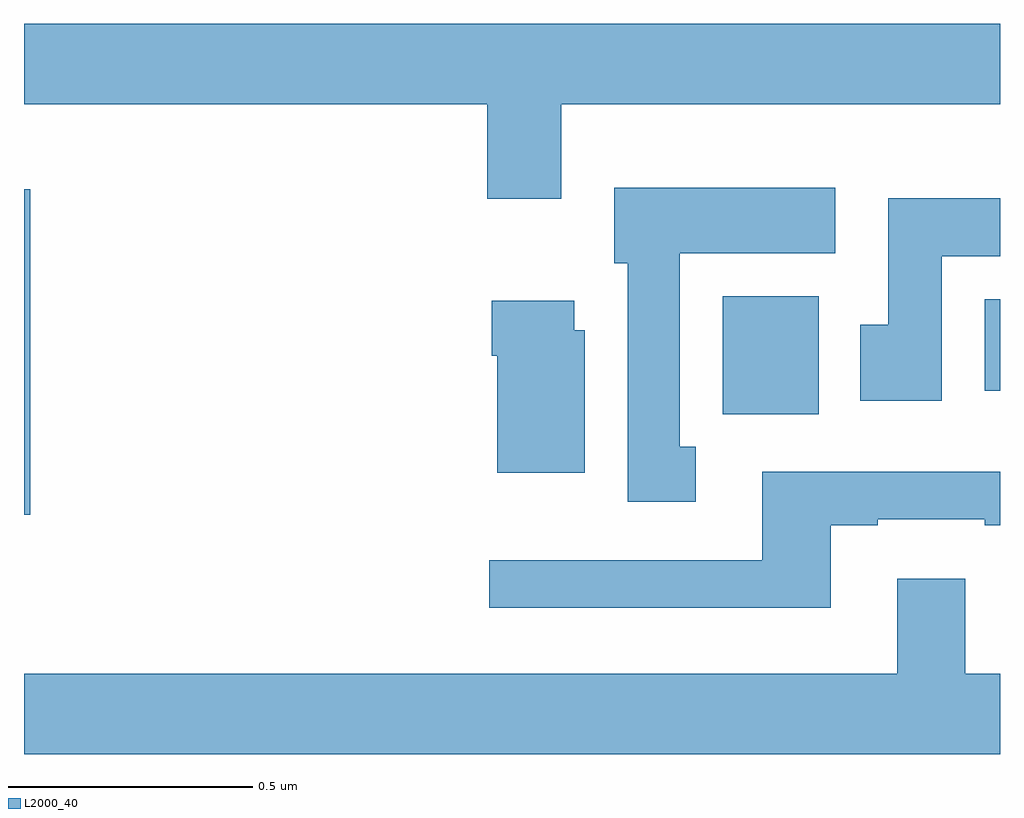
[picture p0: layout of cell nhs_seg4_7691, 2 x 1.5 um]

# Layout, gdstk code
import gdstk
lib = gdstk.Library(unit=1e-6, precision=1e-09)
def R(c, l, rs):  # rectangles x0, y0, x1, y1
    for r in rs: c.add(gdstk.rectangle(r[:2], r[2:], *l))
def P(c, l, *ps):  # polygons
    for p in ps: c.add(gdstk.Polygon(p, *l))
L2000_40 = (2000, 40)

nhs_seg4_7691 = lib.new_cell('nhs_seg4_7691')
R(nhs_seg4_7691, L2000_40, [(205,826.614,205.013,827.281), (206.432,826.82,206.629,827.062), (206.969,826.868,207,827.056)])
P(nhs_seg4_7691, L2000_40, [(206.101,827.456),(207,827.456),(207,827.62),(205,827.62),(205,827.456),(205.949,827.456),(205.949,827.262),(206.101,827.262)],
  [(206.377,826.754),(206.344,826.754),(206.344,827.15),(206.662,827.15),(206.662,827.284),(206.21,827.284),(206.21,827.13),(206.237,827.13),(206.237,826.641),(206.377,826.641)],
  [(206.881,827.144),(207,827.144),(207,827.263),(206.771,827.263),(206.771,827.004),(206.714,827.004),(206.714,826.848),(206.881,826.848)],
  [(206.149,826.992),(206.128,826.992),(206.128,827.053),(205.958,827.053),(205.958,826.94),(205.97,826.94),(205.97,826.7),(206.149,826.7)],
  [(206.653,826.593),(206.749,826.593),(206.749,826.605),(206.969,826.605),(206.969,826.593),(207,826.593),(207,826.702),(206.513,826.702),(206.513,826.521),(205.953,826.521),(205.953,826.424),(206.653,826.424)],
  [(207,826.288),(206.929,826.288),(206.929,826.483),(206.789,826.483),(206.789,826.288),(205,826.288),(205,826.124),(207,826.124)])

lib.write_gds('nhs_seg4_7691.gds')
